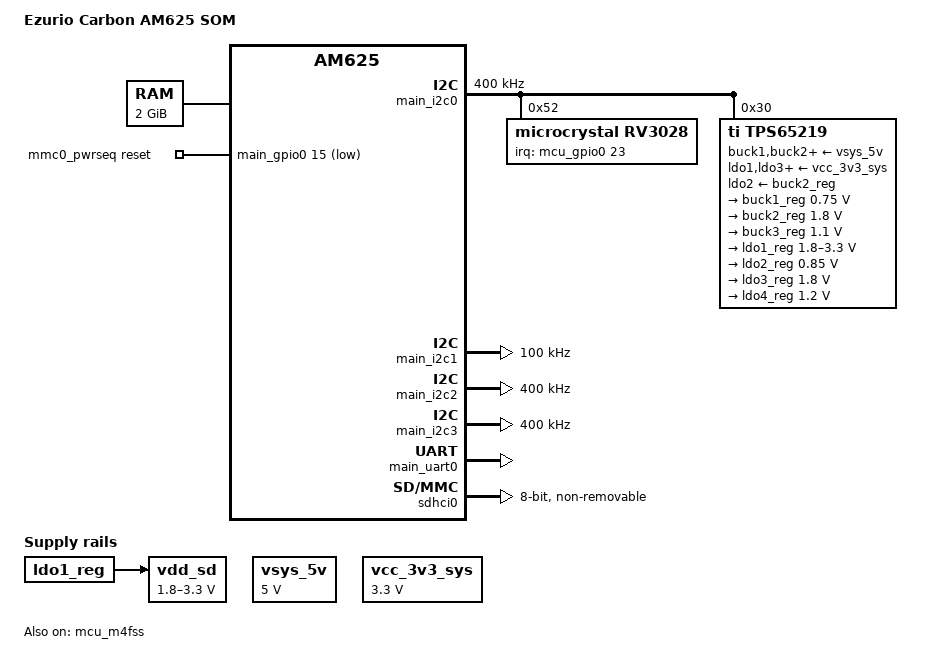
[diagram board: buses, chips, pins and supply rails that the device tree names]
// SPDX-License-Identifier: GPL-2.0
/*
 * AM625 Carbon SOM
 *
 * Copyright (C) 2024 Ezurio LLC
 */

/dts-v1/;

#include <dt-bindings/gpio/gpio.h>
#include <dt-bindings/net/ti-dp83867.h>
#include "k3-am625.dtsi"
#include "k3-am625-carbon-wifi.dtsi"

/ {
	compatible = "ti,am625";
	model = "Ezurio Carbon AM625 SOM";

	aliases {
		serial2 = &main_uart0; /* CONSOLE */
		serial3 = &main_uart1; /* BT */
		serial4 = &main_uart6; /* UART_A */
		serial5 = &mcu_uart0;  /* UART_B */
		serial6 = &main_uart4; /* UART_D */
		mmc0 = &sdhci0;
		mmc1 = &sdhci1;
		mmc2 = &sdhci2;
		spi0 = &ospi0;
		spi1 = &main_spi0;
		ethernet0 = &cpsw_port1;
		ethernet1 = &cpsw_port2;
		usb0 = &usb0;
		usb1 = &usb1;
		gpio0 = &main_gpio0;
		gpio1 = &main_gpio1;
		gpio2 = &mcu_gpio0;
		rtc0 = &rv3028;
		rtc1 = &wkup_rtc0;
	};

	chosen {
		stdout-path = "serial2:115200n8";
	};

	opp-table {
		/* Add 1.4GHz OPP for am625-carbon board. Requires VDD_CORE to be at 0.85V */
		opp-1400000000 {
			opp-hz = /bits/ 64 <1400000000>;
			opp-supported-hw = <0x01 0x0004>;
			clock-latency-ns = <6000000>;
		};
	};

	memory@80000000 {
		device_type = "memory";
		/* 2G RAM */
		reg = <0x00000000 0x80000000 0x00000000 0x80000000>;
	};

	reserved-memory {
		#address-cells = <2>;
		#size-cells = <2>;
		ranges;

		ramoops@9c700000 {
			compatible = "ramoops";
			reg = <0x00 0x9c700000 0x00 0x00100000>;
			record-size = <0x8000>;
			console-size = <0x8000>;
			ftrace-size = <0x00>;
			pmsg-size = <0x8000>;
		};

		rtos_ipc_memory_region: ipc-memories@9c800000 {
			compatible = "shared-dma-pool";
			reg = <0x00 0x9c800000 0x00 0x00300000>;
			no-map;
		};

		mcu_m4fss_dma_memory_region: m4f-dma-memory@9cb00000 {
			compatible = "shared-dma-pool";
			reg = <0x00 0x9cb00000 0x00 0x100000>;
			no-map;
		};

		mcu_m4fss_memory_region: m4f-memory@9cc00000 {
			compatible = "shared-dma-pool";
			reg = <0x00 0x9cc00000 0x00 0xe00000>;
			no-map;
		};

		/* global cma region */
		linux,cma {
			compatible = "shared-dma-pool";
			reusable;
			size = <0x00 0x8000000>; /* 0x8000000 = 128MiB */
			linux,cma-default;
		};

		secure_tfa_ddr: tfa@9e780000 {
			reg = <0x00 0x9e780000 0x00 0x80000>;
			alignment = <0x1000>;
			no-map;
		};

		secure_ddr: optee@9e800000 {
			reg = <0x00 0x9e800000 0x00 0x01800000>; /* for OP-TEE */
			alignment = <0x1000>;
			no-map;
		};

		wkup_r5fss0_core0_dma_memory_region: r5f-dma-memory@9da00000 {
			compatible = "shared-dma-pool";
			reg = <0x00 0x9da00000 0x00 0x00100000>;
			no-map;
		};

		wkup_r5fss0_core0_memory_region: r5f-memory@9db00000 {
			compatible = "shared-dma-pool";
			reg = <0x00 0x9db00000 0x00 0x00c00000>;
			no-map;
		};
	};

	cam_mck: cam-mck {
		compatible = "pwm-clock";
		status = "disabled";
		#clock-cells = <0>;
		clock-frequency = <24000000>;
		clock-output-names = "cam_mck";
		pwms = <&ecap2 0 42 0>; /* 1 / 42 ns = 24 MHz */
	};

	vsys_5v: regulator-vcc-in-5v {
		/* VCC_IN_5V */
		compatible = "regulator-fixed";
		regulator-name = "vsys_5v";
		regulator-min-microvolt = <5000000>;
		regulator-max-microvolt = <5000000>;
		regulator-always-on;
		regulator-boot-on;
	};

	vcc_3v3_sys: regulator-u4 {
		/* output of U4 */
		compatible = "regulator-fixed";
		regulator-name = "vcc_3v3_sys";
		regulator-min-microvolt = <3300000>;
		regulator-max-microvolt = <3300000>;
		regulator-always-on;
		regulator-boot-on;
	};

	vdd_sd: regulator-u3-ldo1 {
		/* Output of U3 TPS6521920WRHBRQ1 VLDO1 */
		compatible = "regulator-gpio";
		vin-supply = <&ldo1_reg>;
		regulator-name = "vdd_sd_u3_vldo1";
		pinctrl-names = "default";
		pinctrl-0 = <&vdd_sd_pins_default>;
		regulator-min-microvolt = <1800000>;
		regulator-max-microvolt = <3300000>;
		gpios = <&main_gpio0 31 GPIO_ACTIVE_HIGH>;
		states = <1800000 0x0>, <3300000 0x1>;
	};

	mmc0_pwrseq: pwrseq {
		pinctrl-names = "default";
		pinctrl-0 = <&main_mmc0_reset_pins_default>;

		compatible = "mmc-pwrseq-emmc";
		reset-gpios = <&main_gpio0 15 GPIO_ACTIVE_LOW>;
	};
};

&cpsw3g {
	pinctrl-names = "default";
	pinctrl-0 = <&main_rgmii1_pins_default>, <&main_rgmii2_pins_default>;

	status = "disabled";

	cpts@3d000 {
		/* MAP HW3_TS_PUSH to GENF1 */
		ti,pps = <2 1>;
	};
};

&cpsw_port1 {
	status = "disabled";
	phy-mode = "rgmii-rxid";
};

&cpsw_port2 {
	status = "disabled";
	phy-mode = "rgmii-rxid";
};

&cpsw3g_mdio {
	pinctrl-names = "default";
	pinctrl-0 = <&main_mdio1_pins_default>;
};

&epwm1 {
	pinctrl-names = "default";
	pinctrl-0 = <&main_epwm1_pins_default>;
};

&ecap2 {
	/* ECAP in APWM mode */
	pinctrl-names = "default";
	pinctrl-0 = <&main_ecap2_pins_default>;
};

&mailbox0_cluster0 {
	mbox_m4_0: mbox-m4-0 {
		ti,mbox-rx = <0 0 0>;
		ti,mbox-tx = <1 0 0>;
	};

	mbox_r5_0: mbox-r5-0 {
		ti,mbox-rx = <2 0 0>;
		ti,mbox-tx = <3 0 0>;
	};
};

&main_gpio0 {
	gpio-line-names = "","GPIO_A_2","GPIO_A_1","","", 	/* 0 - 4 */
		"","","","","",
		"","","","GPIO_A_0","GPIO_C_2",			/* 10 - 14 */
		"EMMC_RESET#","WIFI_WAKE","GPIO_B_7","SDIO_A_PWR_EN","RGB_RESET#",
		"W_DISABLE1#","SDIO_RESET#","W_DISABLE2#","","",	/* 20 - 24 */
		"RGB_CS","RGB_DISP","","","GPIO_C_7",
		"GPIO_B_6","SDIO_A_IOPWR","","","",		/* 30 - 34 */
		"","GPIO_B_3","","GPIO_B_2","GPIO_C_0",
		"","","BT_HOST_WAKE","GPIO_C_1","",		/* 40 - 44 */
		"","","","","",
		"","","","","",					/* 50 - 54 */
		"","","","","",
		"","","","","",					/* 60 - 64 */
		"","","","","",
		"","GPIO_C_3","","","",					/* 70 - 74 */
		"","","","","",
		"","","","","",					/* 80 - 84 */
		"","","","","",
		"","";						/* 90 - 91 */
};

&main_gpio1 {
	gpio-line-names = "","","","","",			/* 0 - 4 */
		"","","","","",
		"","","GPIO_A_3","","",				/* 10 - 14 */
		"","","","","",
		"","","","","",					/* 20 - 24 */
		"","","","","",
		"","","","","",					/* 30 - 34 */
		"","","","","",
		"","","","","",					/* 40 - 44 */
		"","","","SDIO_A_CD#","",
		"","";						/* 50 - 51 */
};

&main_gpio_intr {
	status = "okay";
};

&main_i2c0 {
	status = "okay";
	pinctrl-names = "default";
	pinctrl-0 = <&main_i2c0_pins_default>;
	clock-frequency = <400000>;

	rv3028: rtc@52 {
		backup-switchover-dsm;
		#clock-cells = <0>;
		pinctrl-names = "default";
		pinctrl-0 = <&mcu_rtc_pins_default>;
		compatible = "microcrystal,rv3028";
		reg = <0x52>;
		interrupts-extended = <&mcu_gpio0 23 GPIO_ACTIVE_LOW>;
		wakeup-source;
	};

	tps65219: pmic@30 {
		compatible = "ti,tps65219";
		reg = <0x30>;
		buck1-supply = <&vsys_5v>;
		buck2-supply = <&vsys_5v>;
		buck3-supply = <&vsys_5v>;
		ldo1-supply = <&vcc_3v3_sys>;
		ldo2-supply = <&buck2_reg>;
		ldo3-supply = <&vcc_3v3_sys>;
		ldo4-supply = <&vcc_3v3_sys>;

		pinctrl-names = "default";
		pinctrl-0 = <&pmic_irq_pins_default>;

		interrupt-parent = <&gic500>;
		interrupts = <GIC_SPI 224 IRQ_TYPE_LEVEL_HIGH>;

		system-power-controller;
		ti,power-button;

		regulators {
			buck1_reg: buck1 {
				regulator-name = "VDD_CORE";
				regulator-min-microvolt = <750000>;
				regulator-max-microvolt = <750000>;
				regulator-boot-on;
				regulator-always-on;
			};

			buck2_reg: buck2 {
				regulator-name = "VDD1V8";
				regulator-min-microvolt = <1800000>;
				regulator-max-microvolt = <1800000>;
				regulator-boot-on;
				regulator-always-on;
			};

			buck3_reg: buck3 {
				regulator-name = "VDD_1V1";
				regulator-min-microvolt = <1100000>;
				regulator-max-microvolt = <1100000>;
				regulator-boot-on;
				regulator-always-on;
			};

			ldo1_reg: ldo1 {
				/*
				 * Regulator is left as is unused, vdd_sd
				 * is controlled via GPIO with bypass config
				 * as per the NVM configuration
				 */
				regulator-name = "VDD_SD";
				regulator-min-microvolt = <1800000>;
				regulator-max-microvolt = <3300000>;
				regulator-allow-bypass;
				regulator-boot-on;
				regulator-always-on;
			};

			ldo2_reg: ldo2 {
				regulator-name = "VDDA_0V85";
				regulator-min-microvolt = <850000>;
				regulator-max-microvolt = <850000>;
				regulator-boot-on;
				regulator-always-on;
			};

			ldo3_reg: regulator-u3-ldo3 {
				regulator-name = "VDDA_1V8";
				regulator-min-microvolt = <1800000>;
				regulator-max-microvolt = <1800000>;
				regulator-boot-on;
				regulator-always-on;
			};

			ldo4_reg: ldo4 {
				regulator-name = "VDD_1V2";
				regulator-min-microvolt = <1200000>;
				regulator-max-microvolt = <1200000>;
				regulator-boot-on;
				regulator-always-on;
			};
		};
	};
};

&main_i2c1 { /* I2C_A */
	pinctrl-names = "default";
	pinctrl-0 = <&main_i2c1_pins_default>;
	clock-frequency = <100000>;
};

&main_i2c2 { /* I2C_B */
	pinctrl-names = "default";
	pinctrl-0 = <&main_i2c2_pins_default>;
	clock-frequency = <400000>;
};

&main_i2c3 { /* I2C_CAM */
	pinctrl-names = "default";
	pinctrl-0 = <&main_i2c3_pins_default>;
	clock-frequency = <400000>;
};

&main_mcan0 { /* CAN_A */
	pinctrl-names = "default";
	pinctrl-0 = <&main_mcan0_pins_default>;
};

&main_pmx0 {
	mypruicssm0ecap1_pins_default: mypruicssm0ecap1-default-pins {
		pinctrl-single,pins = <
			AM62X_IOPAD(0x0a4, PIN_INPUT, 1) /* PWM_0 (M22) GPMC0_DIR.PR0_ECAP0_IN_APWM_OUT */
		>;
	};

	main_ecap2_pins_default: main-ecap2-default-pins {
		pinctrl-single,pins = <
			AM62X_IOPAD(0x1a4, PIN_OUTPUT, 2) /* CAM_MCK (B20) MCASP0_ACLKX.ECAP2_IN_APWM_OUT */
		>;
	};

	main_epwm1_pins_default: main-epwm1-default-pins {
		pinctrl-single,pins = <
			AM62X_IOPAD(0x19c, PIN_OUTPUT, 6) /* PWM_1 (B18) MCASP0_AXR1.EHRPWM1_A */
			AM62X_IOPAD(0x1a0, PIN_OUTPUT, 6) /* PWM_2 (E18) MCASP0_AXR0.EHRPWM1_B */
		>;
	};

	main_i2c0_pins_default: main-i2c0-default-pins {
		pinctrl-single,pins = <
			AM62X_IOPAD(0x1e0, PIN_INPUT_PULLUP, 0) /* (B16) I2C0_SCL */
			AM62X_IOPAD(0x1e4, PIN_INPUT_PULLUP, 0) /* (A16) I2C0_SDA */
		>;
	};

	main_i2c1_pins_default: main-i2c1-default-pins {
		pinctrl-single,pins = <
			AM62X_IOPAD(0x1e8, PIN_INPUT_PULLUP, 0) /* (B17) I2C1_SCL */
			AM62X_IOPAD(0x1ec, PIN_INPUT_PULLUP, 0) /* (A17) I2C1_SDA */
		>;
	};

	main_i2c2_pins_default: main-i2c2-default-pins {
		pinctrl-single,pins = <
			AM62X_IOPAD(0x0b0, PIN_INPUT_PULLUP, 1) /* (K22) GPMC0_CSn2.I2C2_SCL */
			AM62X_IOPAD(0x0b4, PIN_INPUT_PULLUP, 1) /* (K24) GPMC0_CSn3.I2C2_SDA */
		>;
	};

	main_i2c3_pins_default: main-i2c3-default-pins {
		pinctrl-single,pins = <
			AM62X_IOPAD(0x1d0, PIN_INPUT_PULLUP, 2) /* (A15) UART0_CTSn.I2C3_SCL */
			AM62X_IOPAD(0x1d4, PIN_INPUT_PULLUP, 2) /* (B15) UART0_RTSn.I2C3_SDA */
		>;
	};

	main_mmc0_reset_pins_default: main-mmc0-reset-default-pins {
		pinctrl-single,pins = <
			AM62X_IOPAD(0x03c, PIN_INPUT, 7) /* (M25) GPMC0_AD0.GPIO0_15 */
		>;
	};

	main_mmc0_pins_default: main-mmc0-default-pins {
		pinctrl-single,pins = <
			AM62X_IOPAD(0x220, PIN_INPUT, 0) /* (Y3) MMC0_CMD */
			AM62X_IOPAD(0x218, PIN_INPUT, 0) /* (AB1) MMC0_CLK */
			AM62X_IOPAD(0x214, PIN_INPUT, 0) /* (AA2) MMC0_DAT0 */
			AM62X_IOPAD(0x210, PIN_INPUT, 0) /* (AA1) MMC0_DAT1 */
			AM62X_IOPAD(0x20c, PIN_INPUT, 0) /* (AA3) MMC0_DAT2 */
			AM62X_IOPAD(0x208, PIN_INPUT, 0) /* (Y4) MMC0_DAT3 */
			AM62X_IOPAD(0x204, PIN_INPUT, 0) /* (AB2) MMC0_DAT4 */
			AM62X_IOPAD(0x200, PIN_INPUT, 0) /* (AC1) MMC0_DAT5 */
			AM62X_IOPAD(0x1fc, PIN_INPUT, 0) /* (AD2) MMC0_DAT6 */
			AM62X_IOPAD(0x1f8, PIN_INPUT, 0) /* (AC2) MMC0_DAT7 */
		>;
	};

	main_mmc1_pins_default: main-mmc1-default-pins {
		pinctrl-single,pins = <
			AM62X_IOPAD(0x23c, PIN_INPUT, 0) /* SDIO_A_CMD (A21) MMC1_CMD */
			AM62X_IOPAD(0x234, PIN_INPUT, 0) /* SDIO_A_CLK (B22) MMC1_CLK */
			AM62X_IOPAD(0x230, PIN_INPUT, 0) /* SDIO_A_D0 (A22) MMC1_DAT0 */
			AM62X_IOPAD(0x22c, PIN_INPUT, 0) /* SDIO_A_D1 (B21) MMC1_DAT1 */
			AM62X_IOPAD(0x228, PIN_INPUT, 0) /* SDIO_A_D2 (C21) MMC1_DAT2 */
			AM62X_IOPAD(0x224, PIN_INPUT, 0) /* SDIO_A_D3 (D22) MMC1_DAT3 */
			AM62X_IOPAD(0x240, PIN_INPUT, 0) /* SDIO_A_CD# (D17) MMC1_SDCD */
		>;
	};

	main_mmc2_pins_default: main-mmc2-default-pins {
		pinctrl-single,pins = <
			AM62X_IOPAD(0x120, PIN_INPUT, 0) /* (C24) MMC2_CMD */
			AM62X_IOPAD(0x118, PIN_OUTPUT, 0) /* (D25) MMC2_CLK */
			AM62X_IOPAD(0x114, PIN_INPUT, 0) /* (B24) MMC2_DAT0 */
			AM62X_IOPAD(0x110, PIN_INPUT, 0) /* (C25) MMC2_DAT1 */
			AM62X_IOPAD(0x10c, PIN_INPUT, 0) /* (E23) MMC2_DAT2 */
			AM62X_IOPAD(0x108, PIN_INPUT, 0) /* (D24) MMC2_DAT3 */
			AM62X_IOPAD(0x11c, PIN_INPUT, 0) /* (#N/A) MMC2_CLKB */
		>;
	};

	main_mdio1_pins_default: main-mdio1-default-pins {
		pinctrl-single,pins = <
			AM62X_IOPAD(0x160, PIN_OUTPUT, 0) /* (AD24) MDIO0_MDC */
			AM62X_IOPAD(0x15c, PIN_INPUT, 0) /* (AB22) MDIO0_MDIO */
		>;
	};

	main_rgmii1_pins_default: main-rgmii1-default-pins {
		pinctrl-single,pins = <
			AM62X_IOPAD(0x14c, PIN_INPUT, 0) /* (AB17) RGMII1_RD0 */
			AM62X_IOPAD(0x150, PIN_INPUT, 0) /* (AC17) RGMII1_RD1 */
			AM62X_IOPAD(0x154, PIN_INPUT, 0) /* (AB16) RGMII1_RD2 */
			AM62X_IOPAD(0x158, PIN_INPUT, 0) /* (AA15) RGMII1_RD3 */
			AM62X_IOPAD(0x148, PIN_INPUT, 0) /* (AD17) RGMII1_RXC */
			AM62X_IOPAD(0x144, PIN_INPUT, 0) /* (AE17) RGMII1_RX_CTL */
			AM62X_IOPAD(0x134, PIN_OUTPUT, 0) /* (AE20) RGMII1_TD0 */
			AM62X_IOPAD(0x138, PIN_OUTPUT, 0) /* (AD20) RGMII1_TD1 */
			AM62X_IOPAD(0x13c, PIN_OUTPUT, 0) /* (AE18) RGMII1_TD2 */
			AM62X_IOPAD(0x140, PIN_OUTPUT, 0) /* (AD18) RGMII1_TD3 */
			AM62X_IOPAD(0x130, PIN_OUTPUT, 0) /* (AE19) RGMII1_TXC */
			AM62X_IOPAD(0x12c, PIN_OUTPUT, 0) /* (AD19) RGMII1_TX_CTL */
		>;
	};

	main_rgmii2_pins_default: main-rgmii2-default-pins {
		pinctrl-single,pins = <
			AM62X_IOPAD(0x184, PIN_INPUT, 0) /* (AE23) RGMII2_RD0 */
			AM62X_IOPAD(0x188, PIN_INPUT, 0) /* (AB20) RGMII2_RD1 */
			AM62X_IOPAD(0x18c, PIN_INPUT, 0) /* (AC21) RGMII2_RD2 */
			AM62X_IOPAD(0x190, PIN_INPUT, 0) /* (AE22) RGMII2_RD3 */
			AM62X_IOPAD(0x180, PIN_INPUT, 0) /* (AD23) RGMII2_RXC */
			AM62X_IOPAD(0x17c, PIN_INPUT, 0) /* (AD22) RGMII2_RX_CTL */
			AM62X_IOPAD(0x16c, PIN_OUTPUT, 0) /* (Y18) RGMII2_TD0 */
			AM62X_IOPAD(0x170, PIN_OUTPUT, 0) /* (AA18) RGMII2_TD1 */
			AM62X_IOPAD(0x174, PIN_OUTPUT, 0) /* (AD21) RGMII2_TD2 */
			AM62X_IOPAD(0x178, PIN_OUTPUT, 0) /* (AC20) RGMII2_TD3 */
			AM62X_IOPAD(0x168, PIN_OUTPUT, 0) /* (AE21) RGMII2_TXC */
			AM62X_IOPAD(0x164, PIN_OUTPUT, 0) /* (AA19) RGMII2_TX_CTL */
		>;
	};

	main_usb0_pins_default: main-usb0-default-pins {
		pinctrl-single,pins = <
			AM62X_IOPAD(0x254, PIN_OUTPUT, 0) /* (C20) USB0_DRVVBUS */
		>;
	};

	main_usb1_pins_default: main-usb1-default-pins {
		pinctrl-single,pins = <
			AM62X_IOPAD(0x258, PIN_OUTPUT, 0) /* (F18) USB1_DRVVBUS */
		>;
	};

	main_mcasp1_pins_default: main-mcasp1-default-pins {
		pinctrl-single,pins = <
			AM62X_IOPAD(0x084, PIN_INPUT, 2) /* (L23) GPMC0_ADVN_ALE.MCASP1_AXR2 */
			AM62X_IOPAD(0x08c, PIN_OUTPUT, 2) /* (L25) GPMC0_WEN.MCASP1_AXR0 */
			AM62X_IOPAD(0x090, PIN_INPUT, 2) /* (M24) GPMC0_BE0N_CLE.MCASP1_ACLKX - Clock Transmit */
			AM62X_IOPAD(0x098, PIN_INPUT, 2) /* (U23) GPMC0_WAIT0.MCASP1_AFSX - Frame Transmit */
		>;
	};

	main_dss0_pins_default: main-dss0-default-pins {
		pinctrl-single,pins = <
			AM62X_IOPAD(0x100, PIN_OUTPUT, 0) /* (AC25) VOUT0_VSYNC */
			AM62X_IOPAD(0x0f8, PIN_OUTPUT, 0) /* (AB24) VOUT0_HSYNC */
			AM62X_IOPAD(0x104, PIN_OUTPUT, 0) /* (AC24) VOUT0_PCLK */
			AM62X_IOPAD(0x0fc, PIN_OUTPUT, 0) /* (Y20) VOUT0_DE */
			AM62X_IOPAD(0x0b8, PIN_OUTPUT, 0) /* (U22) VOUT0_DATA0 */
			AM62X_IOPAD(0x0bc, PIN_OUTPUT, 0) /* (V24) VOUT0_DATA1 */
			AM62X_IOPAD(0x0c0, PIN_OUTPUT, 0) /* (W25) VOUT0_DATA2 */
			AM62X_IOPAD(0x0c4, PIN_OUTPUT, 0) /* (W24) VOUT0_DATA3 */
			AM62X_IOPAD(0x0c8, PIN_OUTPUT, 0) /* (Y25) VOUT0_DATA4 */
			AM62X_IOPAD(0x0cc, PIN_OUTPUT, 0) /* (Y24) VOUT0_DATA5 */
			AM62X_IOPAD(0x0d0, PIN_OUTPUT, 0) /* (Y23) VOUT0_DATA6 */
			AM62X_IOPAD(0x0d4, PIN_OUTPUT, 0) /* (AA25) VOUT0_DATA7 */
			AM62X_IOPAD(0x0d8, PIN_OUTPUT, 0) /* (V21) VOUT0_DATA8 */
			AM62X_IOPAD(0x0dc, PIN_OUTPUT, 0) /* (W21) VOUT0_DATA9 */
			AM62X_IOPAD(0x0e0, PIN_OUTPUT, 0) /* (V20) VOUT0_DATA10 */
			AM62X_IOPAD(0x0e4, PIN_OUTPUT, 0) /* (AA23) VOUT0_DATA11 */
			AM62X_IOPAD(0x0e8, PIN_OUTPUT, 0) /* (AB25) VOUT0_DATA12 */
			AM62X_IOPAD(0x0ec, PIN_OUTPUT, 0) /* (AA24) VOUT0_DATA13 */
			AM62X_IOPAD(0x0f0, PIN_OUTPUT, 0) /* (Y22) VOUT0_DATA14 */
			AM62X_IOPAD(0x0f4, PIN_OUTPUT, 0) /* (AA21) VOUT0_DATA15 */
			AM62X_IOPAD(0x05c, PIN_OUTPUT, 1) /* (R24) GPMC0_AD8.VOUT0_DATA16 */
			AM62X_IOPAD(0x060, PIN_OUTPUT, 1) /* (R25) GPMC0_AD9.VOUT0_DATA17 */
		>;
	};

	main_mcan0_pins_default: main-mcan0-default-pins {
		pinctrl-single,pins = <
			AM62X_IOPAD(0x1d8, PIN_OUTPUT, 0) /* CAN_A_TX (C15) MCAN0_TX */
			AM62X_IOPAD(0x1dc, PIN_INPUT, 0) /* CAN_A_RX (E15) MCAN0_RX */
		>;
	};

	main_spi0_pins_default: main-spi0-default-pins {
		pinctrl-single,pins = <
			AM62X_IOPAD(0x1c0, PIN_INPUT, 0) /* SPI_B_SDI (B13) SPI0_D0 */
			AM62X_IOPAD(0x1c4, PIN_OUTPUT, 0) /* SPI_B_SDO (B14) SPI0_D1 */
			AM62X_IOPAD(0x1b4, PIN_INPUT, 0) /* SPI_B_CS0# (A13) SPI0_CS0 */
			AM62X_IOPAD(0x1b8, PIN_INPUT, 0) /* SPI_B_CS1# (C13) SPI0_CS1 */
			AM62X_IOPAD(0x1bc, PIN_INPUT, 0) /* SPI_B_SCK (A14) SPI0_CLK */
		>;
	};

	main_uart0_pins_default: main-uart0-default-pins {
		pinctrl-single,pins = <
			AM62X_IOPAD(0x1c8, PIN_INPUT, 0) /* (D14) UART0_RXD */
			AM62X_IOPAD(0x1cc, PIN_OUTPUT, 0) /* (E14) UART0_TXD */
		>;
	};

	main_uart1_pins_default: main-uart1-default-pins {
		pinctrl-single,pins = <
			AM62X_IOPAD(0x194, PIN_INPUT_PULLUP, 2) /* (B19) MCASP0_AXR3.UART1_CTSn */
			AM62X_IOPAD(0x198, PIN_OUTPUT,       2) /* (A19) MCASP0_AXR2.UART1_RTSn */
			AM62X_IOPAD(0x1ac, PIN_INPUT_PULLUP, 2) /* (E19) MCASP0_AFSR.UART1_RXD  */
			AM62X_IOPAD(0x1b0, PIN_OUTPUT,       2) /* (A20) MCASP0_ACLKR.UART1_TXD */
		>;
	};

	main_uart4_pins_default: main-uart4-default-pins {
		pinctrl-single,pins = <
			AM62X_IOPAD(0x06c, PIN_INPUT, 2) /* (T22) GPMC0_AD12.UART4_RXD */
			AM62X_IOPAD(0x070, PIN_OUTPUT, 2) /* (T24) GPMC0_AD13.UART4_TXD */
		>;
	};

	main_uart6_pins_default: main-uart6-default-pins {
		pinctrl-single,pins = <
			AM62X_IOPAD(0x028, PIN_INPUT, 3) /* (J22) OSPI0_D7.UART6_CTSn */
			AM62X_IOPAD(0x024, PIN_OUTPUT, 3) /* (H25) OSPI0_D6.UART6_RTSn */
			AM62X_IOPAD(0x01c, PIN_INPUT, 3) /* (J23) OSPI0_D4.UART6_RXD */
			AM62X_IOPAD(0x020, PIN_OUTPUT, 3) /* (J25) OSPI0_D5.UART6_TXD */
		>;
	};

	main_bt_en_pins_default: main-bt-en-default-pins {
		pinctrl-single,pins = <
			AM62X_IOPAD(0x058, PIN_INPUT, 7) /* W_DISABLE2# (R23) GPMC0_AD7.GPIO0_22 */
		>;
	};

	main_bt_wake_pins_default: main-bt-wake-default-pins {
		pinctrl-single,pins = <
			AM62X_IOPAD(0x0ac, PIN_INPUT_PULLUP, 7) /* BT_HOST_WAKE (L21) GPMC0_CSn1.GPIO0_42 */
		>;
	};

	main_wifi_en_default: main-wifi-en-default-pins {
		pinctrl-single,pins = <
			AM62X_IOPAD(0x050, PIN_INPUT, 7) /* W_DISABLE1# (P22) GPMC0_AD5.GPIO0_20 */
		>;
	};

	main_wifi_en2_default: main-wifi-en2-default-pins {
		pinctrl-single,pins = <
			AM62X_IOPAD(0x054, PIN_INPUT, 7) /* SDIO_RESET# (P21) GPMC0_AD6.GPIO0_21 */
		>;
	};

	main_wifi_wake_default: main-wifi-wake-default-pins {
		pinctrl-single,pins = <
			AM62X_IOPAD(0x040, PIN_INPUT, 7) /* SDIO_WAKE# (N23) GPMC0_AD1.GPIO0_16 */
		>;
	};

	pmic_irq_pins_default: pmic-irq-default-pins {
		pinctrl-single,pins = <
			AM62X_IOPAD(0x1f4, PIN_INPUT, 0) /* (D16) EXTINTn */
		>;
	};

	ospi0_pins_default: ospi0-default-pins {
		pinctrl-single,pins = <
			AM62X_IOPAD(0x000, PIN_OUTPUT, 0) /* (H24) OSPI0_CLK */
			AM62X_IOPAD(0x02c, PIN_OUTPUT, 0) /* (F23) OSPI0_CSn0 */
			AM62X_IOPAD(0x030, PIN_OUTPUT, 0) /* (G21) OSPI0_CSn1 */
			AM62X_IOPAD(0x00c, PIN_INPUT, 0) /* (E25) OSPI0_D0 */
			AM62X_IOPAD(0x010, PIN_INPUT, 0) /* (G24) OSPI0_D1 */
			AM62X_IOPAD(0x014, PIN_INPUT, 0) /* (F25) OSPI0_D2 */
			AM62X_IOPAD(0x018, PIN_INPUT, 0) /* (F24) OSPI0_D3 */
		>;
	};

	vdd_sd_pins_default: vdd-sd-default-pins {
		pinctrl-single,pins = <
			AM62X_IOPAD(0x07c, PIN_OUTPUT, 7) /* (P25) GPMC0_CLK.GPIO0_31 */
		>;
	};
};

&main_spi0 { /* SPI_B */
	pinctrl-names = "default";
	pinctrl-0 = <&main_spi0_pins_default>;
};

&main_uart0 {
	/* Console ttyS2 */
	status = "okay";
	pinctrl-names = "default";
	pinctrl-0 = <&main_uart0_pins_default>;
	interrupts-extended = <&gic500 GIC_SPI 178 IRQ_TYPE_LEVEL_HIGH>,
			      <&main_pmx0 0x1c8>; /* (D14) UART0_RXD PADCONFIG114 */
	interrupt-names = "irq", "wakeup";
};

/* On-module Bluetooth */
&main_uart1 {
	/* BT (Also used by TIFS firmware) */
	status = "reserved";
	pinctrl-names = "default";
	pinctrl-0 = <&main_uart1_pins_default>;
};

&main_uart4 {
	/* UART_D */
	pinctrl-names = "default";
	pinctrl-0 = <&main_uart4_pins_default>;
};

&main_uart6 {
	/* UART_A */
	pinctrl-names = "default";
	pinctrl-0 = <&main_uart6_pins_default>;
};

&mcasp1 {
	#sound-dai-cells = <0>;

	pinctrl-names = "default";
	pinctrl-0 = <&main_mcasp1_pins_default>;

	op-mode = <0>;          /* MCASP_IIS_MODE */
	tdm-slots = <2>;

	serial-dir = <  /* 0: INACTIVE, 1: TX, 2: RX */
		   1 0 2 0
		   0 0 0 0
		   0 0 0 0
		   0 0 0 0
	>;
	tx-num-evt = <0>;
	rx-num-evt = <0>;
};

/* mcu_gpio0 and mcu_gpio_intr are reserved for mcu firmware usage */
&mcu_gpio0 {
	status = "okay";
	gpio-line-names = "","","","","",					/* 0 - 4 */
		"","","","","",
		"","GPIO_B_1","GPIO_B_0","","",					/* 10 - 14 */
		"","USB_A_ID","GPIO_A_4","GPIO_A_5","GPIO_B_4",
		"GPIO_B_5","","","rv3028_int";					/* 20 - 23 */
};

&mcu_gpio_intr {
	status = "okay";
};

&mcu_m4fss {
	mboxes = <&mailbox0_cluster0 &mbox_m4_0>;
	memory-region = <&mcu_m4fss_dma_memory_region>,
			<&mcu_m4fss_memory_region>;
	status = "okay";
};

&wkup_r5fss0_core0 {
	mboxes = <&mailbox0_cluster0 &mbox_r5_0>;
	memory-region = <&wkup_r5fss0_core0_dma_memory_region>,
			<&wkup_r5fss0_core0_memory_region>;
};

&mcu_mcan0 { /* CAN_B */
	pinctrl-names = "default";
	pinctrl-0 = <&mcu_mcan0_pins_default>;
};

&mcu_pmx0 {
	wkup_uart0_pins_default: wkup-uart0-default-pins {
		pinctrl-single,pins = <
			AM62X_MCU_IOPAD(0x02c, PIN_INPUT_PULLUP, 0) /* (C6/A7) WKUP_UART0_CTSn */
			AM62X_MCU_IOPAD(0x030, PIN_OUTPUT, 0) /* (A4/B4) WKUP_UART0_RTSn */
			AM62X_MCU_IOPAD(0x024, PIN_INPUT_PULLUP, 0) /* (B4/B5) WKUP_UART0_RXD */
			AM62X_MCU_IOPAD(0x028, PIN_OUTPUT, 0) /* (C5/C6) WKUP_UART0_TXD */
		>;
	};

	mcu_mcan0_pins_default: mcu-mcan0-default-pins {
		pinctrl-single,pins = <
			AM62X_MCU_IOPAD(0x034, PIN_OUTPUT, 0) /* CAN_B_TX (D6) MCU_MCAN0_TX */
			AM62X_MCU_IOPAD(0x038, PIN_INPUT, 0) /* CAN_B_RX (B3) MCU_MCAN0_RX */
		>;
	};

	mcu_rtc_pins_default: mcu-rtc-default-pins {
		pinctrl-single,pins = <
			AM62X_MCU_IOPAD(0x084, PIN_INPUT, 7) /* RTC_INT (A12) WKUP_CLKOUT0.MCU_GPIO0_23 */
		>;
	};

	mcu_uart0_pins_default: mcu-uart0-default-pins {
		pinctrl-single,pins = <
			AM62X_MCU_IOPAD(0x01c, PIN_INPUT_PULLUP, 0) /* (A6) MCU_UART0_CTSn */
			AM62X_MCU_IOPAD(0x020, PIN_OUTPUT, 0) /* (B6) MCU_UART0_RTSn */
			AM62X_MCU_IOPAD(0x014, PIN_INPUT_PULLUP, 0) /* (B5) MCU_UART0_RXD */
			AM62X_MCU_IOPAD(0x018, PIN_OUTPUT, 0) /* (A5) MCU_UART0_TXD */
		>;
	};

	mcu_usb_a_id_pins_default: mcu-usb-a-id-default-pins {
		pinctrl-single,pins = <
			AM62X_MCU_IOPAD(0x040, PIN_INPUT, 7) /* USB_A_ID (D4) MCU_MCAN1_RX.MCU_GPIO0_16 */
		>;
	};
};

&mcu_uart0 {
	/* UART_B */
	pinctrl-names = "default";
	pinctrl-0 = <&mcu_uart0_pins_default>;
};

&ospi0 { /* SPI_A Only 4 bits are routed out */
	pinctrl-names = "default";
	pinctrl-0 = <&ospi0_pins_default>;
};

&sdhci0 { /* eMMC */
	status = "okay";

	pinctrl-names = "default";
	pinctrl-0 = <&main_mmc0_pins_default>;

	mmc-pwrseq = <&mmc0_pwrseq>;
	disable-wp;
	non-removable;
	bus-width = <8>;

 	ti,fails-without-test-cd;
	ti,driver-strength-ohm = <50>;
};

&sdhci1 { /* SDIO_A */
	pinctrl-names = "default";
	pinctrl-0 = <&main_mmc1_pins_default>;
};

&wkup_uart0 {
	/* WKUP UART0 (UART_C) is used by DM firmware */
	status = "reserved";
	pinctrl-names = "default";
	pinctrl-0 = <&wkup_uart0_pins_default>;
};

&oldi0_ports {
	#address-cells = <1>;
	#size-cells = <0>;

	port@0 {
		reg = <0>; 
	};

	port@1 {
		reg = <1>;
	};
};

&oldi1_ports {
	#address-cells = <1>;
	#size-cells = <0>;

	port@0 {
		reg = <0>; 
	};

	port@1 {
		reg = <1>;
	};
};
